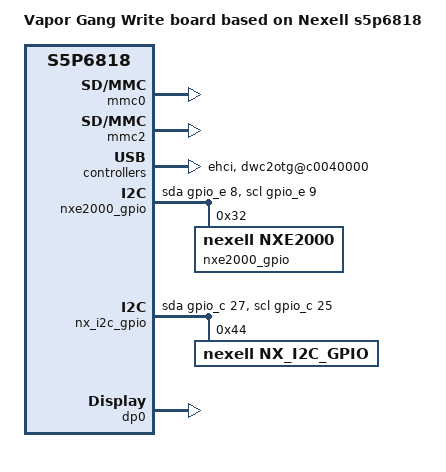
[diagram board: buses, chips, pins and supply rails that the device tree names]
/*
 * (C) Copyright 2016 Nexell
 * Hyejung Kwon <cjscld15@nexell.co.kr>
 *
 * SPDX-License-Identifier: GPL-2.0+
 */

/dts-v1/;
#include "s5p6818.dtsi"
#include "s5p6818-vapor-gang-nxe2000.dtsi"

/ {
	model = "Vapor Gang Write board based on Nexell s5p6818";
	cpu-model = "S5p6818";

	compatible = "nexell,vapor-gang", "nexell,s5p6818";

	mmc0:mmc@c0062000 {
		frequency = <50000000>;
		nexell,drive_dly = <0x0>;
		nexell,drive_shift = <0x03>;
		nexell,sample_dly = <0x00>;
		nexell,sample_shift = <0x02>;
		status = "okay";
	};

	mmc2:mmc@c0069000 {
		frequency = <50000000>;
		nexell,drive_dly = <0x0>;
		nexell,drive_shift = <0x03>;
		nexell,sample_dly = <0x00>;
		nexell,sample_shift = <0x02>;
		nexell,bus-width = <8>;
		index = <2>;
		status = "okay";
	};

	ehci:usbhost@c0030000 {
		status = "okay";
	};

	dwc2otg@c0040000 {
		status = "okay";
	};

	nxe2000_gpio:i2c_gpio@0 {
		compatible = "i2c-gpio";
		#address-cells = <1>;
		#size-cells = <0>;
		gpios = <&gpio_e 8 1>,	/* SDA */
		      <&gpio_e 9 1>;	/* SCL */

		i2c-gpio,delay-us = <3>;
		nxe2000_gpio@32 {
			compatible = "nexell,nxe2000";
			reg = <0x32>;
		};
	};

	nx_i2c_gpio:i2c_gpio@5 {
		#address-cells = <1>;
		#size-cells = <0>;
		compatible = "i2c-gpio";
		gpios = <&gpio_c 27 0>,
			<&gpio_c 25 0>;
		i2c-gpio,delay-us = <1>;
		nx_i2c_gpio@44 {
			compatible = "nexell,nx_i2c_gpio";
			reg = <0x44>;
			sda_pad = <1>;
			scl_pad = <1>;
		};
	};

	dp0:dp@c0102800 {
	        status = "okay";
	        module = <0>;
	        lcd-type = "hdmi";

		dp-device {
			format = <0>;	//	0:VESA, 1:JEIDA
			preset = <1>;	//	0:1280x720, 1: 1920x1080
		};
		dp-sync {
			h_active_len = <1920>;
			h_front_porch = <30>;
			h_back_porch = <30>;
			h_sync_width = <4>;
			v_active_len = <1080>;
			v_front_porch = <10>;
			v_back_porch = <10>;
			v_sync_width = <2>;
		};
		dp-ctrl {
			clk_src_lv0 = <3>;
			clk_div_lv0 = <10>;
			clk_src_lv1 = <7>;
			clk_div_lv1 = <1>;
			out_format = <3>;
		};
		dp-planes {
			layer_top {
				screen_width = <1920>;
				screen_height = <1080>;
				back_color = <0x0>;
			};
			layer_1 {
				fb_base = <0x7E000000>;
				width = <1920>;
				height = <1080>;
				format = <0x06530000>;
				pixel_byte = <4>;
			};
		};
	};
};
